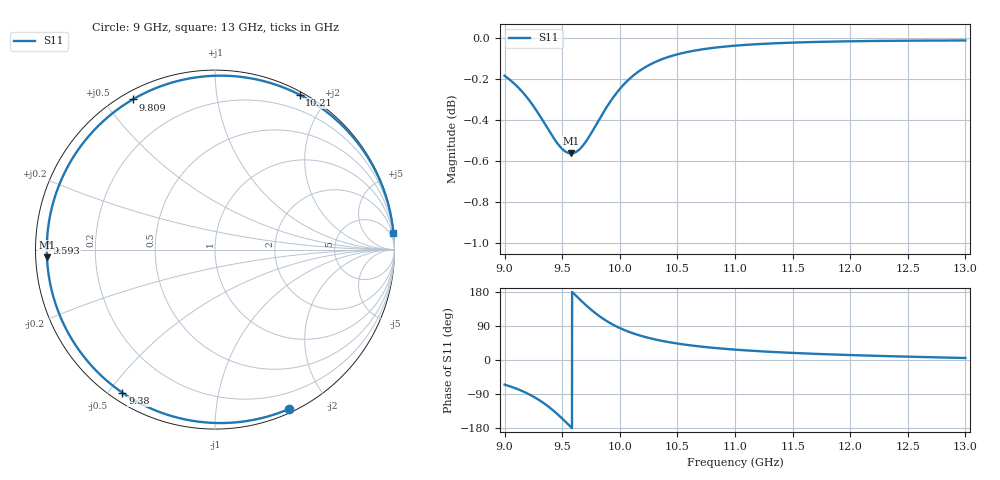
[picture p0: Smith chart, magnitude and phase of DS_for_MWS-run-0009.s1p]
! TOUCHSTONE file generated by CST DESIGN STUDIO
! Date and time: Tue Feb  4 14:06:57 2025
! Project name: C:\Work\MatlabApps\UnitCellOptimizationMatlab\CST\unitcell.cst
! Tree item: Tasks\Sweep1\SPara1\S-Parameters
! Header version: 2024
! Port assignment regex: !\s*Touchstone port\s*([0-9]+)\s*=\s*(CST MWS port|CST DES external port|CST DES block port)\s*(.+)\s* \(\"(.*)\"\)(\s*mode\s*([0-9]+))?.*
! Touchstone port assignment:
! Touchstone port 1 = CST DES external port 1 ("")
# GHz S MA R 50
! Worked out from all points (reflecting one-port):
!   4001 points, 9 GHz to 13 GHz, reference 50 ohm
!   lowest |S11| = -0.6 dB at 9.577 GHz (marker M1), VSWR 30.89, Z = 1.62 - j1.12 ohm
!   phase of S11 starts at -65 deg and turns -290 deg over the sweep
!   S11 on the Smith chart (normalised r, x): 9 GHz: 0.04, -1.57; 9.38 GHz: 0.03, -0.54; 9.593 GHz: 0.03, +0.02; 9.809 GHz: 0.03, +0.59; 10.21 GHz: 0.03, +1.69; 13 GHz: 0, +22
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9  0.9789 -65.0
9.046  0.9767 -69.4
9.114  0.9728 -77.0
9.23  0.9642 -93.3
9.31  0.9568 -107.7
9.38  0.9498 -122.9
9.439  0.9442 -137.6
9.5  0.9396 -154.5
9.539  0.9379 -166.0
9.577  0.9373 -177.4
9.593  0.9374 177.7
9.648  0.9393 161.2
9.709  0.9438 143.8
9.759  0.9487 130.7
9.809  0.9539 118.7
9.851  0.9583 109.7
9.896  0.9628 101.0
10  0.9717 84.3
10.101  0.9781 71.9
10.212  0.9833 61.4
10.345  0.9875 51.8
10.5  0.9907 43.4
10.72  0.9935 34.9
11  0.9955 27.4
11.5  0.9972 18.7
12  0.998 13.0
12.5  0.9983 8.8
13  0.9984 5.3
